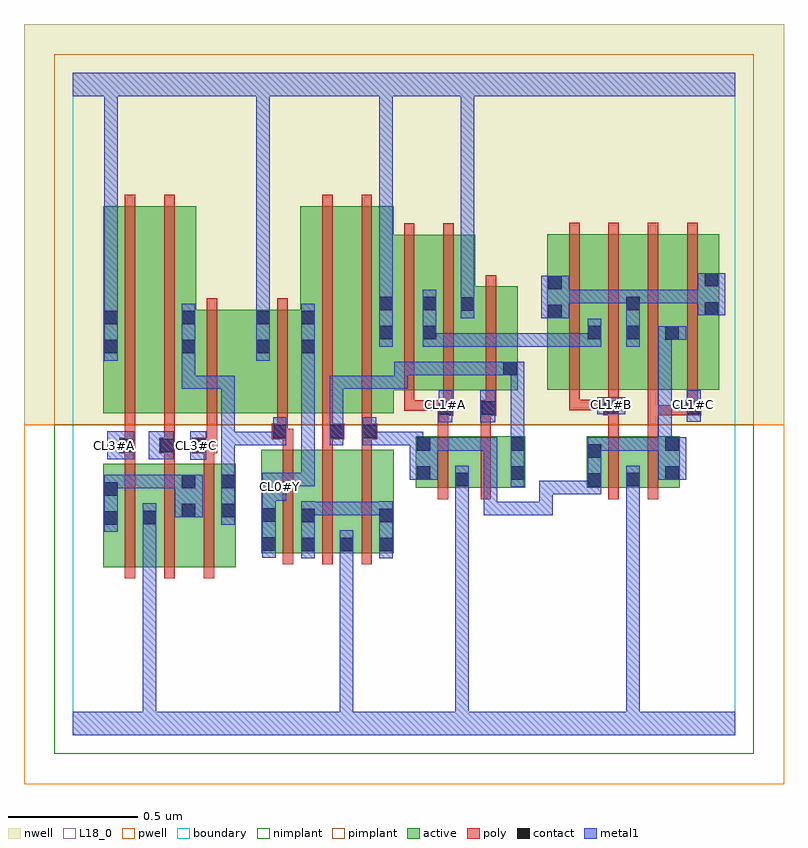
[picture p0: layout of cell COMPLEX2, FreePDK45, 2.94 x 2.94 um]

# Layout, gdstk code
import gdstk
lib = gdstk.Library(unit=1e-6, precision=1e-09)
def R(c, l, rs):  # rectangles x0, y0, x1, y1
    for r in rs: c.add(gdstk.rectangle(r[:2], r[2:], *l))
def A(c, l, x, y, w, h, nx, ny, dx, dy):  # array of equal rectangles
    R(c, l, [(x+i*dx, y+j*dy, x+i*dx+w, y+j*dy+h) for i in range(nx) for j in range(ny)])
active = (1, 0)
pwell = (2, 0)
nwell = (3, 0)
nimplant = (4, 0)
pimplant = (5, 0)
poly = (9, 0)
contact = (10, 0)
metal1 = (11, 0)
L18_0 = (18, 0)
boundary = (235, 0)

complex2 = lib.new_cell('COMPLEX2')
R(complex2, active, [(0.118,0.65,0.178,1.05), (0.118,0.65,0.326,1.05), (0.266,0.65,0.478,1.05), (0.266,0.65,0.326,0.872), (0.418,0.65,0.478,1.05), (0.418,0.65,0.63,1.05), (0.57,0.65,0.63,1.05), (0.728,0.704,0.788,1.104), (0.728,0.704,0.94,1.104), (0.88,0.704,1.088,1.104), (0.88,0.704,0.94,1.072), (1.028,0.704,1.24,1.104), (1.028,0.704,1.088,0.99), (1.18,0.704,1.24,1.104), (1.326,0.956,1.386,1.156), (1.326,0.956,1.534,1.156), (1.474,0.956,1.748,1.156), (1.474,0.956,1.534,1.018), (1.688,0.956,1.748,1.156), (1.986,0.956,2.046,1.156), (1.986,0.956,2.194,1.156), (2.134,0.956,2.194,1.156), (2.134,0.956,2.346,1.156), (2.286,0.956,2.346,1.156), (0.118,1.244,0.298,2.044), (0.118,1.244,0.178,2.044), (0.298,1.244,0.478,2.044), (0.418,1.244,0.766,1.644), (0.706,1.244,0.94,1.644), (0.88,1.244,1.06,2.044), (0.88,1.244,0.94,2.044), (1.06,1.244,1.24,2.044), (1.18,1.334,1.408,1.934), (1.348,1.334,1.556,1.934), (1.496,1.334,1.72,1.734), (1.66,1.334,1.72,1.644), (1.834,1.336,2.046,1.936), (1.986,1.336,2.194,1.936), (1.986,1.336,2.046,1.936), (2.134,1.336,2.346,1.936), (2.286,1.336,2.498,1.936), (2.438,1.336,2.498,1.844), (0.418,1.388,0.478,1.9), (1.18,1.388,1.24,1.99), (1.496,1.388,1.556,1.696), (1.834,1.452,1.894,1.844), (2.286,1.452,2.346,1.936), (0.706,1.472,0.766,1.644), (1.348,1.526,1.408,1.844), (2.134,1.526,2.194,1.936)])
R(complex2, pwell, [(-0.188,-0.188,2.748,1.2)])
R(complex2, nwell, [(-0.188,1.2,2.748,2.748)])
R(complex2, nimplant, [(-0.072,-0.072,2.632,1.2)])
R(complex2, pimplant, [(-0.072,1.2,2.632,2.632)])
A(complex2, poly, 0.202, 0.606, 0.04, 0.488, 3, 1, 0.152, 0)
A(complex2, poly, 0.812, 0.66, 0.04, 0.488, 3, 1, 0.152, 0)
A(complex2, poly, 0.202, 1.054, 0.04, 0.076, 3, 1, 0.152, 0)
A(complex2, poly, 0.812, 1.108, 0.04, 0.076, 3, 1, 0.152, 0)
A(complex2, poly, 1.918, 1.292, 0.04, 0.688, 4, 1, 0.152, 0)
R(complex2, poly, [(1.41,0.912,1.45,1.2), (1.576,0.912,1.616,1.2), (2.07,0.912,2.11,1.2), (2.222,0.912,2.262,1.2), (0.18,1.09,0.242,1.15), (0.202,1.09,0.242,1.13), (0.202,1.09,0.242,1.13), (0.334,1.09,0.394,1.15), (0.46,1.09,0.558,1.15), (0.506,1.09,0.546,1.13), (0.506,1.09,0.546,1.13), (0.202,1.11,0.242,1.24), (0.354,1.11,0.394,1.15), (0.354,1.11,0.394,1.15), (0.354,1.11,0.394,1.24), (0.518,1.11,0.558,1.24), (0.77,1.144,0.83,1.204), (0.79,1.144,0.83,1.184), (0.79,1.144,0.852,1.184), (0.964,1.144,1.004,1.184), (0.964,1.144,1.004,1.184), (0.964,1.144,1.05,1.204), (1.116,1.144,1.176,1.204), (1.41,1.16,1.45,1.274), (1.576,1.16,1.616,1.274), (2.07,1.16,2.11,1.276), (2.222,1.16,2.262,1.276), (0.79,1.164,0.83,1.24), (0.964,1.164,1.004,1.24), (1.116,1.164,1.156,1.24), (1.116,1.164,1.156,1.204), (1.116,1.164,1.156,1.204), (0.202,1.2,0.242,2.088), (0.354,1.2,0.394,2.088), (0.518,1.2,0.558,1.688), (0.79,1.2,0.83,1.688), (0.964,1.2,1.004,2.088), (1.116,1.2,1.156,2.088), (1.41,1.234,1.47,1.294), (1.576,1.234,1.636,1.294), (2.05,1.236,2.11,1.296), (2.07,1.236,2.11,1.276), (2.07,1.236,2.11,1.276), (2.222,1.236,2.262,1.276), (2.222,1.236,2.262,1.276), (2.222,1.236,2.262,1.276), (2.222,1.236,2.408,1.276), (2.222,1.236,2.262,1.332), (2.368,1.236,2.408,1.276), (2.368,1.236,2.408,1.276), (2.368,1.236,2.428,1.296), (1.28,1.254,1.32,1.33), (1.28,1.254,1.32,1.294), (1.28,1.254,1.32,1.294), (1.28,1.254,1.32,1.294), (1.28,1.254,1.47,1.294), (1.43,1.254,1.47,1.294), (1.43,1.254,1.472,1.294), (1.432,1.254,1.472,1.33), (1.596,1.254,1.636,1.33), (1.596,1.254,1.636,1.294), (1.596,1.254,1.636,1.294), (1.918,1.256,1.958,1.332), (1.918,1.256,1.958,1.296), (1.918,1.256,2.09,1.296), (2.05,1.256,2.09,1.296), (2.05,1.256,2.09,1.296), (2.07,1.256,2.11,1.332), (2.374,1.256,2.414,1.332), (1.28,1.29,1.32,1.978), (1.432,1.29,1.472,1.978), (1.596,1.29,1.636,1.778)])
R(complex2, contact, [(0.884,0.712,0.936,0.764), (1.032,0.712,1.084,0.764), (1.184,0.712,1.236,0.764), (0.732,0.714,0.784,0.766), (0.122,0.814,0.174,0.866), (0.27,0.816,0.322,0.868), (0.884,0.824,0.936,0.876), (1.184,0.824,1.236,0.876), (0.732,0.826,0.784,0.878), (0.422,0.842,0.474,0.894), (0.574,0.842,0.626,0.894), (0.122,0.926,0.174,0.978), (0.422,0.954,0.474,1.006), (0.574,0.954,0.626,1.006), (1.99,0.96,2.042,1.012), (1.478,0.962,1.53,1.014), (2.138,0.962,2.19,1.014), (1.33,0.988,1.382,1.04), (1.692,0.988,1.744,1.04), (2.29,0.988,2.342,1.04), (1.99,1.072,2.042,1.124), (0.184,1.094,0.236,1.146), (0.338,1.094,0.39,1.146), (0.464,1.094,0.516,1.146), (1.33,1.1,1.382,1.152), (1.692,1.1,1.744,1.152), (2.29,1.1,2.342,1.152), (0.774,1.148,0.826,1.2), (0.994,1.148,1.046,1.2), (1.12,1.148,1.172,1.2), (1.414,1.238,1.466,1.29), (1.58,1.238,1.632,1.29), (2.054,1.24,2.106,1.292), (2.372,1.24,2.424,1.292), (1.664,1.392,1.716,1.444), (0.122,1.476,0.174,1.528), (0.422,1.476,0.474,1.528), (0.71,1.476,0.762,1.528), (0.884,1.476,0.936,1.528), (2.29,1.528,2.342,1.58), (1.184,1.53,1.236,1.582), (1.352,1.53,1.404,1.582), (1.99,1.53,2.042,1.582), (2.138,1.53,2.19,1.582), (0.122,1.588,0.174,1.64), (0.422,1.588,0.474,1.64), (0.71,1.588,0.762,1.64), (0.884,1.588,0.936,1.64), (1.838,1.612,1.89,1.664), (2.442,1.622,2.494,1.674), (1.5,1.64,1.552,1.692), (1.184,1.642,1.236,1.694), (1.352,1.642,1.404,1.694), (2.138,1.642,2.19,1.694), (1.838,1.724,1.89,1.776), (2.442,1.734,2.494,1.786)])
R(complex2, metal1, [(0,0,2.56,0.092), (0.27,0.04,0.322,0.092), (0.27,0.04,0.322,0.092), (0.27,0.04,0.322,0.092), (0.27,0.04,0.322,0.092), (0.27,0.04,0.322,0.092), (0.27,0.04,0.322,0.092), (0.27,0.04,0.322,0.092), (0.27,0.04,0.322,0.092), (0.27,0.04,0.322,0.092), (0.27,0.04,0.322,0.092), (0.27,0.04,0.322,0.84), (1.032,0.04,1.084,0.092), (1.032,0.04,1.084,0.092), (1.032,0.04,1.084,0.092), (1.032,0.04,1.084,0.092), (1.032,0.04,1.084,0.092), (1.032,0.04,1.084,0.092), (1.032,0.04,1.084,0.736), (1.478,0.04,1.53,0.092), (1.478,0.04,1.53,0.092), (1.478,0.04,1.53,0.092), (1.478,0.04,1.53,0.092), (1.478,0.04,1.53,0.986), (2.138,0.04,2.19,0.092), (2.138,0.04,2.19,0.092), (2.138,0.04,2.19,0.092), (2.138,0.04,2.19,0.092), (2.138,0.04,2.19,0.092), (2.138,0.04,2.19,0.092), (2.138,0.04,2.19,0.092), (2.138,0.04,2.19,0.092), (2.138,0.04,2.19,0.092), (2.138,0.04,2.19,0.092), (2.138,0.04,2.19,0.092), (2.138,0.04,2.19,0.092), (2.138,0.04,2.19,0.092), (2.138,0.04,2.19,0.092), (2.138,0.04,2.19,0.986), (0.884,0.684,0.936,0.904), (1.032,0.684,1.084,0.736), (1.032,0.684,1.084,0.736), (1.032,0.684,1.084,0.736), (1.032,0.684,1.084,0.736), (1.032,0.684,1.084,0.736), (1.032,0.684,1.084,0.736), (1.032,0.684,1.084,0.792), (1.184,0.684,1.236,0.904), (0.732,0.686,0.784,0.906), (0.122,0.786,0.174,1.006), (0.27,0.788,0.322,0.84), (0.27,0.788,0.322,0.84), (0.27,0.788,0.322,0.896), (0.574,0.814,0.626,1.034), (0.394,0.842,0.502,1.006), (0.884,0.85,1.062,0.902), (1.01,0.85,1.062,0.902), (1.01,0.85,1.062,0.902), (1.01,0.85,1.062,0.902), (1.01,0.85,1.184,0.902), (1.132,0.85,1.184,0.902), (1.132,0.85,1.236,0.902), (1.588,0.85,1.64,0.902), (1.588,0.85,1.854,0.902), (1.588,0.85,1.64,1.152), (1.802,0.85,1.854,0.902), (1.802,0.85,1.854,0.902), (1.802,0.85,1.854,0.902), (1.802,0.85,1.854,0.984), (0.732,0.854,0.784,0.958), (0.732,0.906,0.826,1.014), (1.802,0.932,1.854,0.984), (1.802,0.932,1.968,0.984), (1.916,0.932,1.968,0.984), (1.916,0.932,2.042,0.984), (1.99,0.932,2.042,1.152), (1.478,0.934,1.53,0.986), (1.478,0.934,1.53,0.986), (1.478,0.934,1.53,0.986), (1.478,0.934,1.53,0.986), (1.478,0.934,1.53,0.986), (1.478,0.934,1.53,0.986), (1.478,0.934,1.53,0.986), (1.478,0.934,1.53,0.986), (1.478,0.934,1.53,0.986), (1.478,0.934,1.53,0.986), (1.478,0.934,1.53,0.986), (1.478,0.934,1.53,0.986), (1.478,0.934,1.53,1.042), (2.138,0.934,2.19,0.986), (2.138,0.934,2.19,0.986), (2.138,0.934,2.19,1.042), (0.122,0.954,0.174,1.006), (0.122,0.954,0.174,1.006), (0.122,0.954,0.336,1.006), (0.284,0.954,0.336,1.006), (0.284,0.954,0.336,1.006), (0.284,0.954,0.336,1.006), (0.284,0.954,0.446,1.006), (1.692,0.96,1.744,1.18), (0.774,0.962,0.826,1.014), (0.774,0.962,0.826,1.014), (0.774,0.962,0.936,1.014), (0.884,0.962,0.936,1.014), (0.884,0.962,0.936,1.5), (0.574,0.982,0.626,1.172), (1.302,0.988,1.41,1.152), (2.262,0.988,2.37,1.152), (0.454,1.064,0.516,1.174), (0.134,1.066,0.236,1.174), (0.294,1.066,0.39,1.174), (1.302,1.1,1.354,1.172), (1.358,1.1,1.41,1.152), (1.358,1.1,1.41,1.152), (1.358,1.1,1.53,1.152), (1.478,1.1,1.53,1.152), (1.478,1.1,1.64,1.152), (1.588,1.1,1.64,1.152), (1.99,1.1,2.152,1.152), (2.1,1.1,2.152,1.152), (2.1,1.1,2.152,1.152), (2.1,1.1,2.152,1.152), (2.1,1.1,2.314,1.152), (2.262,1.1,2.314,1.152), (2.262,1.1,2.314,1.152), (2.262,1.1,2.314,1.152), (2.262,1.1,2.314,1.152), (2.262,1.1,2.314,1.152), (2.262,1.1,2.314,1.152), (2.262,1.1,2.314,1.58), (0.574,1.12,0.626,1.172), (0.574,1.12,0.626,1.172), (0.574,1.12,0.626,1.172), (0.574,1.12,0.626,1.172), (0.574,1.12,0.626,1.172), (0.574,1.12,0.826,1.172), (0.574,1.12,0.626,1.39), (0.774,1.12,0.826,1.228), (0.994,1.12,1.046,1.228), (1.12,1.12,1.172,1.172), (1.12,1.12,1.172,1.172), (1.12,1.12,1.172,1.228), (1.12,1.12,1.294,1.172), (1.242,1.12,1.294,1.172), (1.242,1.12,1.354,1.172), (1.302,1.12,1.354,1.172), (1.692,1.128,1.744,1.444), (0.994,1.176,1.046,1.228), (0.994,1.176,1.046,1.39), (1.414,1.21,1.466,1.334), (1.574,1.21,1.632,1.334), (2.372,1.212,2.426,1.334), (2.026,1.24,2.134,1.306), (0.422,1.338,0.626,1.39), (0.422,1.338,0.474,1.5), (0.574,1.338,0.626,1.39), (0.994,1.338,1.184,1.39), (1.132,1.338,1.184,1.39), (1.132,1.338,1.184,1.39), (1.132,1.338,1.184,1.39), (1.132,1.338,1.294,1.39), (1.242,1.338,1.294,1.444), (1.242,1.392,1.42,1.444), (1.368,1.392,1.42,1.444), (1.368,1.392,1.42,1.444), (1.368,1.392,1.42,1.444), (1.368,1.392,1.53,1.444), (1.478,1.392,1.53,1.444), (1.478,1.392,1.744,1.444), (1.636,1.392,1.744,1.444), (1.692,1.392,1.744,1.444), (1.692,1.392,1.744,1.444), (1.692,1.392,1.744,1.444), (1.692,1.392,1.744,1.444), (1.692,1.392,1.744,1.444), (1.692,1.392,1.744,1.444), (0.122,1.448,0.174,1.668), (0.422,1.448,0.474,1.5), (0.422,1.448,0.474,1.668), (0.71,1.448,0.762,1.668), (0.884,1.448,0.936,1.5), (0.884,1.448,0.936,1.5), (0.884,1.448,0.936,1.668), (1.184,1.502,1.236,1.722), (1.352,1.502,1.404,1.554), (1.352,1.502,1.404,1.554), (1.352,1.502,1.404,1.722), (1.352,1.502,1.578,1.554), (1.526,1.502,1.578,1.554), (1.526,1.502,1.578,1.554), (1.526,1.502,1.578,1.554), (1.526,1.502,1.578,1.554), (1.526,1.502,1.578,1.554), (1.526,1.502,1.854,1.554), (1.802,1.502,1.854,1.554), (1.802,1.502,1.854,1.554), (1.802,1.502,1.854,1.554), (1.802,1.502,1.854,1.554), (1.802,1.502,1.854,1.554), (1.802,1.502,1.964,1.554), (1.912,1.502,1.964,1.554), (1.912,1.502,2.042,1.554), (1.99,1.502,2.042,1.61), (2.138,1.502,2.19,1.722), (2.262,1.528,2.37,1.58), (1.5,1.612,1.552,1.72), (1.81,1.612,1.918,1.776), (0.122,1.616,0.174,2.52), (0.71,1.616,0.762,1.668), (0.71,1.616,0.762,1.668), (0.71,1.616,0.762,1.668), (0.71,1.616,0.762,1.668), (0.71,1.616,0.762,1.668), (0.71,1.616,0.762,1.668), (0.71,1.616,0.762,2.52), (2.414,1.622,2.522,1.786), (1.5,1.668,1.552,2.52), (1.184,1.67,1.236,2.52), (1.866,1.67,1.964,1.722), (1.912,1.67,1.964,1.722), (1.912,1.67,2.028,1.722), (1.976,1.67,2.028,1.722), (1.976,1.67,2.19,1.722), (2.138,1.67,2.19,1.722), (2.138,1.67,2.19,1.722), (2.138,1.67,2.3,1.722), (2.248,1.67,2.3,1.722), (2.248,1.67,2.3,1.722), (2.248,1.67,2.3,1.722), (2.248,1.67,2.466,1.722), (2.414,1.67,2.466,1.722), (2.414,1.67,2.466,1.722), (0,2.468,2.56,2.56), (0.122,2.468,0.174,2.52), (0.122,2.468,0.174,2.52), (0.122,2.468,0.174,2.52), (0.122,2.468,0.174,2.52), (0.122,2.468,0.174,2.52), (0.122,2.468,0.174,2.52), (0.122,2.468,0.174,2.52), (0.122,2.468,0.174,2.52), (0.71,2.468,0.762,2.52), (0.71,2.468,0.762,2.52), (0.71,2.468,0.762,2.52), (0.71,2.468,0.762,2.52), (0.71,2.468,0.762,2.52), (0.71,2.468,0.762,2.52), (0.71,2.468,0.762,2.52), (0.71,2.468,0.762,2.52), (0.71,2.468,0.762,2.52), (0.71,2.468,0.762,2.52), (1.184,2.468,1.236,2.52), (1.184,2.468,1.236,2.52), (1.184,2.468,1.236,2.52), (1.184,2.468,1.236,2.52), (1.184,2.468,1.236,2.52), (1.184,2.468,1.236,2.52), (1.184,2.468,1.236,2.52), (1.184,2.468,1.236,2.52), (1.5,2.468,1.552,2.52), (1.5,2.468,1.552,2.52), (1.5,2.468,1.552,2.52), (1.5,2.468,1.552,2.52), (1.5,2.468,1.552,2.52), (1.5,2.468,1.552,2.52), (1.5,2.468,1.552,2.52), (1.5,2.468,1.552,2.52), (1.5,2.468,1.552,2.52), (1.5,2.468,1.552,2.52), (1.5,2.468,1.552,2.52), (1.5,2.468,1.552,2.52)])
A(complex2, L18_0, 0.134, 1.094, 0.052, 0.052, 3, 1, 0.16, 0)
R(complex2, L18_0, [(0,0,2.56,0.092), (0.27,0.04,0.322,0.092), (0.27,0.04,0.322,0.092), (0.27,0.04,0.322,0.092), (0.27,0.04,0.322,0.092), (0.27,0.04,0.322,0.092), (0.27,0.04,0.322,0.092), (0.27,0.04,0.322,0.092), (0.27,0.04,0.322,0.092), (0.27,0.04,0.322,0.092), (0.27,0.04,0.322,0.092), (0.27,0.04,0.322,0.84), (1.032,0.04,1.084,0.092), (1.032,0.04,1.084,0.092), (1.032,0.04,1.084,0.092), (1.032,0.04,1.084,0.092), (1.032,0.04,1.084,0.092), (1.032,0.04,1.084,0.092), (1.032,0.04,1.084,0.736), (1.478,0.04,1.53,0.092), (1.478,0.04,1.53,0.092), (1.478,0.04,1.53,0.092), (1.478,0.04,1.53,0.092), (1.478,0.04,1.53,0.986), (2.138,0.04,2.19,0.092), (2.138,0.04,2.19,0.092), (2.138,0.04,2.19,0.092), (2.138,0.04,2.19,0.092), (2.138,0.04,2.19,0.092), (2.138,0.04,2.19,0.092), (2.138,0.04,2.19,0.092), (2.138,0.04,2.19,0.092), (2.138,0.04,2.19,0.092), (2.138,0.04,2.19,0.092), (2.138,0.04,2.19,0.092), (2.138,0.04,2.19,0.092), (2.138,0.04,2.19,0.092), (2.138,0.04,2.19,0.092), (2.138,0.04,2.19,0.986), (1.032,0.684,1.084,0.736), (1.032,0.684,1.084,0.736), (1.032,0.684,1.084,0.736), (1.032,0.684,1.084,0.736), (1.032,0.684,1.084,0.736), (1.032,0.684,1.084,0.736), (1.032,0.684,1.084,0.792), (0.732,0.686,0.784,0.906), (0.27,0.788,0.322,0.84), (0.27,0.788,0.322,0.84), (0.27,0.788,0.322,0.896), (0.732,0.854,0.784,0.958), (0.732,0.906,0.826,1.014), (0.774,0.934,0.826,0.986), (1.478,0.934,1.53,0.986), (1.478,0.934,1.53,0.986), (1.478,0.934,1.53,0.986), (1.478,0.934,1.53,0.986), (1.478,0.934,1.53,0.986), (1.478,0.934,1.53,0.986), (1.478,0.934,1.53,0.986), (1.478,0.934,1.53,0.986), (1.478,0.934,1.53,0.986), (1.478,0.934,1.53,0.986), (1.478,0.934,1.53,0.986), (1.478,0.934,1.53,0.986), (1.478,0.934,1.53,1.042), (2.138,0.934,2.19,0.986), (2.138,0.934,2.19,0.986), (2.138,0.934,2.19,1.042), (0.774,0.962,0.826,1.014), (0.774,0.962,0.826,1.014), (0.774,0.962,0.936,1.014), (0.884,0.962,0.936,1.014), (0.884,0.962,0.936,1.5), (0.454,1.064,0.516,1.174), (0.134,1.066,0.236,1.174), (0.294,1.066,0.39,1.174), (1.414,1.21,1.466,1.334), (1.574,1.21,1.632,1.334), (2.372,1.212,2.426,1.334), (2.026,1.24,2.134,1.306), (1.414,1.254,1.466,1.306), (1.574,1.254,1.626,1.306), (2.054,1.254,2.106,1.306), (2.374,1.254,2.426,1.306), (0.122,1.448,0.174,1.668), (0.71,1.448,0.762,1.668), (0.884,1.448,0.936,1.668), (0.884,1.448,0.936,1.5), (0.884,1.448,0.936,1.5), (1.184,1.502,1.236,1.722), (1.5,1.612,1.552,1.72), (0.122,1.616,0.174,2.52), (0.71,1.616,0.762,1.668), (0.71,1.616,0.762,1.668), (0.71,1.616,0.762,1.668), (0.71,1.616,0.762,1.668), (0.71,1.616,0.762,1.668), (0.71,1.616,0.762,1.668), (0.71,1.616,0.762,2.52), (1.5,1.668,1.552,2.52), (1.184,1.67,1.236,2.52), (0,2.468,2.56,2.56), (0.122,2.468,0.174,2.52), (0.122,2.468,0.174,2.52), (0.122,2.468,0.174,2.52), (0.122,2.468,0.174,2.52), (0.122,2.468,0.174,2.52), (0.122,2.468,0.174,2.52), (0.122,2.468,0.174,2.52), (0.122,2.468,0.174,2.52), (0.71,2.468,0.762,2.52), (0.71,2.468,0.762,2.52), (0.71,2.468,0.762,2.52), (0.71,2.468,0.762,2.52), (0.71,2.468,0.762,2.52), (0.71,2.468,0.762,2.52), (0.71,2.468,0.762,2.52), (0.71,2.468,0.762,2.52), (0.71,2.468,0.762,2.52), (0.71,2.468,0.762,2.52), (1.184,2.468,1.236,2.52), (1.184,2.468,1.236,2.52), (1.184,2.468,1.236,2.52), (1.184,2.468,1.236,2.52), (1.184,2.468,1.236,2.52), (1.184,2.468,1.236,2.52), (1.184,2.468,1.236,2.52), (1.184,2.468,1.236,2.52), (1.5,2.468,1.552,2.52), (1.5,2.468,1.552,2.52), (1.5,2.468,1.552,2.52), (1.5,2.468,1.552,2.52), (1.5,2.468,1.552,2.52), (1.5,2.468,1.552,2.52), (1.5,2.468,1.552,2.52), (1.5,2.468,1.552,2.52), (1.5,2.468,1.552,2.52), (1.5,2.468,1.552,2.52), (1.5,2.468,1.552,2.52), (1.5,2.468,1.552,2.52)])
R(complex2, boundary, [(0,0,2.56,2.56)])
complex2.add(gdstk.Label('CL0#Y', (0.8,0.96), layer=11, texttype=0))
complex2.add(gdstk.Label('CL1#A', (1.44,1.28), layer=11, texttype=0))
complex2.add(gdstk.Label('CL1#B', (2.08,1.28), layer=11, texttype=0))
complex2.add(gdstk.Label('CL1#C', (2.4,1.28), layer=11, texttype=0))
complex2.add(gdstk.Label('CL2#A', (1.6,1.28), layer=11, texttype=0))
complex2.add(gdstk.Label('CL3#A', (0.16,1.12), layer=11, texttype=0))
complex2.add(gdstk.Label('CL3#B', (0.32,1.12), layer=11, texttype=0))
complex2.add(gdstk.Label('CL3#C', (0.48,1.12), layer=11, texttype=0))

lib.write_gds('COMPLEX2.gds')
